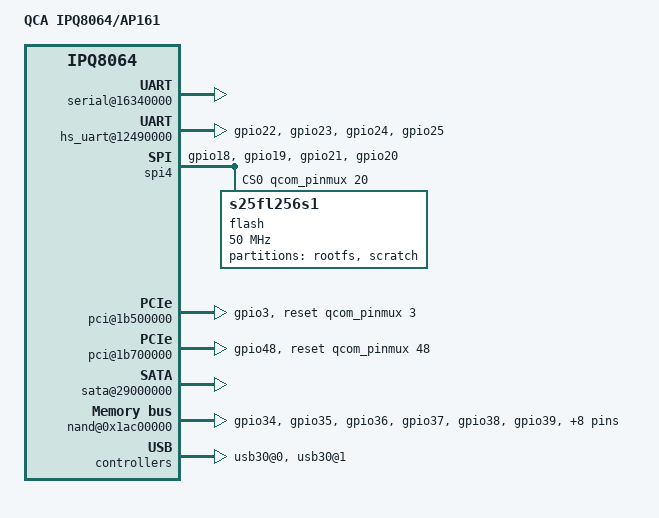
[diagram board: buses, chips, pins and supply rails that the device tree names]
/* Copyright (c) 2015, The Linux Foundation. All rights reserved.
 *
 * Permission to use, copy, modify, and/or distribute this software for any
 * purpose with or without fee is hereby granted, provided that the above
 * copyright notice and this permission notice appear in all copies.
 *
 * THE SOFTWARE IS PROVIDED "AS IS" AND THE AUTHOR DISCLAIMS ALL WARRANTIES
 * WITH REGARD TO THIS SOFTWARE INCLUDING ALL IMPLIED WARRANTIES OF
 * MERCHANTABILITY AND FITNESS. IN NO EVENT SHALL THE AUTHOR BE LIABLE FOR
 * ANY SPECIAL, DIRECT, INDIRECT, OR CONSEQUENTIAL DAMAGES OR ANY DAMAGES
 * WHATSOEVER RESULTING FROM LOSS OF USE, DATA OR PROFITS, WHETHER IN AN
 * ACTION OF CONTRACT, NEGLIGENCE OR OTHER TORTIOUS ACTION, ARISING OUT OF
 * OR IN CONNECTION WITH THE USE OR PERFORMANCE OF THIS SOFTWARE.
 *
 */

#include <dt-bindings/interrupt-controller/arm-gic.h>
#include <dt-bindings/interrupt-controller/irq.h>

/ {
	model = "QCA IPQ8064/AP161";
	compatible = "qcom,ipq8064-ap161", "qcom,ipq8064";

	reserved-memory {
		#address-cells = <1>;
		#size-cells = <1>;
		ranges;
		rsvd@41200000 {
			reg = <0x41200000 0x300000>;
			no-map;
		};
	};

	soc {
		pinmux@800000 {
			pinctrl-0 = <&rgmii2_pins_default>;
			pinctrl-names = "default";

			rpm_i2c_pinmux: rpm_i2c_pinmux {
				mux {
					pins = "gpio12", "gpio13";
					function = "gsbi4";
					drive-strength = <12>;
					bias-disable;
				};
			};

			pcie1_pins: pcie1_pinmux {
				mux {
					pins = "gpio3";
					drive-strength = <2>;
					bias-disable;
				};
			};

			pcie2_pins: pcie2_pinmux {
				mux {
					pins = "gpio48";
					drive-strength = <2>;
					bias-disable;
				};
			};

			spi_pins: spi_pins {
				mux {
					pins = "gpio18", "gpio19", "gpio21";
					function = "gsbi5";
					drive-strength = <10>;
					bias-none;
				};
				cs {
					pins = "gpio20";
					drive-strength = <12>;
				};
			};
			nand_pins: nand_pins {
				mux {
					pins = "gpio34", "gpio35", "gpio36",
						"gpio37", "gpio38", "gpio39",
						"gpio40", "gpio41", "gpio42",
						"gpio43", "gpio44", "gpio45",
						"gpio46", "gpio47";
					function = "nand";
					drive-strength = <10>;
					bias-disable;
				};
				pullups {
					pins = "gpio39";
					bias-pull-up;
				};
				hold {
					pins = "gpio40", "gpio41", "gpio42",
						"gpio43", "gpio44", "gpio45",
						"gpio46", "gpio47";
					bias-bus-hold;
				};
			};

			rgmii2_pins_default: rgmii2_pins_default {
				mux {
					pins = "gpio27", "gpio28", "gpio29", "gpio30", "gpio31", "gpio32",
					       "gpio51", "gpio52", "gpio59", "gpio60", "gpio61", "gpio62" ;
					function = "rgmii2";
					drive-strength = <8>;
					bias-disable;
				};

				tx {
					pins = "gpio27", "gpio28", "gpio29", "gpio30", "gpio31", "gpio32" ;
					input-disable;
				};
			};

			hs_uart_pins: hs_uart_pins {
				mux {
					pins = "gpio22", "gpio23", "gpio24", "gpio25" ;
					function = "gsbi2";
					drive-strength = <12>;
					bias-disable;
				};
			};

		};

		gsbi@16300000 {
			qcom,mode = <GSBI_PROT_I2C_UART>;
			status = "ok";
			serial@16340000 {
				status = "ok";
			};
		};

		gsbi2: gsbi@12480000 {
			qcom,mode = <GSBI_PROT_UART_W_FC>;
			status = "ok";
			hs_uart@12490000 {
				qcom,rx-chan = <8>;
				qcom,tx-chan = <7>;
				qcom,rx-crci = <14>;
				qcom,tx-crci = <4>;
				pinctrl-0 = <&hs_uart_pins>;
				pinctrl-names = "default";

				status = "ok";
			};
		};

		gsbi5: gsbi@1a200000 {
			qcom,mode = <GSBI_PROT_SPI>;
			status = "ok";

			spi4: spi@1a280000 {
				status = "ok";
				spi-max-frequency = <50000000>;

				pinctrl-0 = <&spi_pins>;
				pinctrl-names = "default";

				cs-gpios = <&qcom_pinmux 20 0>;

				dmas = <&adm_dma 6 9>,
					<&adm_dma 5 10>;
				dma-names = "rx", "tx";

				flash: m25p80@0 {
					compatible = "s25fl256s1";
					#address-cells = <1>;
					#size-cells = <1>;
					spi-max-frequency = <50000000>;
					reg = <0>;
					m25p,fast-read;

					partition@0 {
						label = "rootfs";
						reg = <0x0 0x1000000>;
					};

					partition@1 {
						label = "scratch";
						reg = <0x1000000 0x1000000>;
					};
				};
			};
		};

		sata-phy@1b400000 {
			status = "ok";
		};

		pci@1b500000 {
			status = "ok";
			reset-gpio = <&qcom_pinmux 3 0>;
			pinctrl-0 = <&pcie1_pins>;
			pinctrl-names = "default";

			ranges = <0x00000000 0 0x00000000 0x0ff00000 0 0x00100000   /* configuration space */
				  0x81000000 0 0	  0x0fe00000 0 0x00100000   /* downstream I/O */
				  0x82000000 0 0x00000000 0x08000000 0 0x07e00000>; /* non-prefetchable memory */
		};

		pci@1b700000 {
			status = "ok";
			reset-gpio = <&qcom_pinmux 48 0>;
			pinctrl-0 = <&pcie2_pins>;
			pinctrl-names = "default";

			ranges = <0x00000000 0 0x00000000 0x31f00000 0 0x00100000   /* configuration space */
				  0x81000000 0 0	  0x31e00000 0 0x00100000   /* downstream I/O */
				  0x82000000 0 0x00000000 0x2e000000 0 0x03e00000>; /* non-prefetchable memory */

		};

		sata@29000000 {
			status = "ok";
		};

		dma@18300000 {
			status = "ok";
		};

		nand@0x1ac00000 {
			status = "ok";

			pinctrl-0 = <&nand_pins>;
			pinctrl-names = "default";
		};

		tcsr@1a400000 {
			status = "ok";
			qcom,usb-ctrl-select = <TCSR_USB_SELECT_USB3_DUAL>;
		};

		phy@100f8800 {		/* USB3 port 1 HS phy */
			status = "ok";
		};

		phy@100f8830 {		/* USB3 port 1 SS phy */
			status = "ok";
		};

		phy@110f8800 {		/* USB3 port 0 HS phy */
			status = "ok";
		};

		phy@110f8830 {		/* USB3 port 0 SS phy */
			status = "ok";
		};

		usb30@0 {
			status = "ok";
		};

		usb30@1 {
			status = "ok";
		};

		rpm@108000 {
			pinctrl-0 = <&rpm_i2c_pinmux>;
			pinctrl-names = "default";
		};
	};
};
